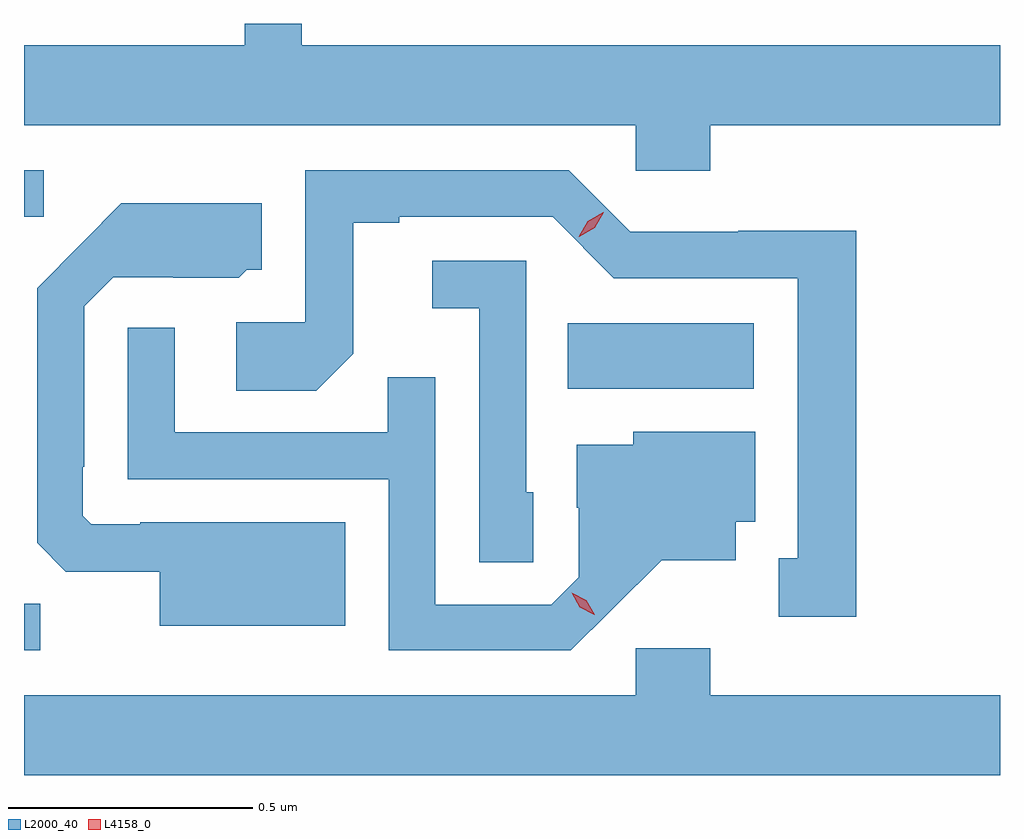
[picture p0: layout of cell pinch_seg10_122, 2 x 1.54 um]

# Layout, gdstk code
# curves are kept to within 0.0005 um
import gdstk
lib = gdstk.Library(unit=1e-6, precision=1e-09)
def R(c, l, rs):  # rectangles x0, y0, x1, y1
    for r in rs: c.add(gdstk.rectangle(r[:2], r[2:], *l))
def P(c, l, *ps):  # polygons
    for p in ps: c.add(gdstk.Polygon(p, *l))
L2000_40 = (2000, 40)
L4158_0 = (4158, 0)

pinch_seg10_122 = lib.new_cell('pinch_seg10_122')
R(pinch_seg10_122, L2000_40, [(719.226,1276.596,719.259,1276.691), (720.34,1277.132,720.721,1277.266), (719.226,1277.484,719.266,1277.58)])
P(pinch_seg10_122, L2000_40, [(720.632,1277.672),(721.226,1277.672),(721.226,1277.836),(719.795,1277.836),(719.795,1277.88),(719.678,1277.88),(719.678,1277.836),(719.226,1277.836),(719.226,1277.672),(720.48,1277.672),(720.48,1277.579),(720.632,1277.579)],
  [(720.931,1277.456),(720.69,1277.456),(720.69,1277.454),(720.468,1277.454),(720.342,1277.58),(719.802,1277.58),(719.802,1277.268),(719.661,1277.268),(719.661,1277.128),(719.825,1277.128),(719.901,1277.204),(719.901,1277.472),(719.995,1277.472),(719.995,1277.484),(720.309,1277.484),(720.435,1277.358),(720.812,1277.358),(720.812,1276.785),(720.773,1276.785),(720.773,1276.665),(720.931,1276.665)],
  [(719.884,1276.858),(719.464,1276.858),(719.464,1276.854),(719.364,1276.854),(719.346,1276.872),(719.346,1276.972),(719.349,1276.972),(719.349,1277.301),(719.409,1277.361),(719.532,1277.361),(719.532,1277.36),(719.666,1277.36),(719.682,1277.376),(719.713,1277.376),(719.713,1277.512),(719.425,1277.512),(719.253,1277.338),(719.253,1276.816),(719.312,1276.757),(719.504,1276.757),(719.504,1276.646),(719.884,1276.646)],
  [(720.27,1276.92),(720.255,1276.92),(720.255,1277.394),(720.063,1277.394),(720.063,1277.297),(720.159,1277.297),(720.159,1276.777),(720.27,1276.777)],
  [(720.43,1276.679),(720.533,1276.781),(720.685,1276.781),(720.685,1276.86),(720.724,1276.86),(720.724,1277.044),(720.474,1277.044),(720.474,1277.017),(720.359,1277.017),(720.359,1276.888),(720.363,1276.888),(720.363,1276.746),(720.306,1276.689),(720.069,1276.689),(720.069,1277.156),(719.971,1277.156),(719.971,1277.043),(719.535,1277.043),(719.535,1277.257),(719.439,1277.257),(719.439,1276.947),(719.973,1276.947),(719.973,1276.596),(720.346,1276.596)],
  [(721.226,1276.504),(720.632,1276.504),(720.632,1276.6),(720.48,1276.6),(720.48,1276.504),(719.226,1276.504),(719.226,1276.34),(721.226,1276.34)])
P(pinch_seg10_122, L4158_0, [(720.395,1276.669),(720.365,1276.684),(720.348,1276.714),(720.348,1276.714),(720.348,1276.714),(720.378,1276.699),(720.396,1276.669),(720.396,1276.669)],
  [(720.363,1277.443),(720.363,1277.443),(720.381,1277.475),(720.413,1277.494),(720.414,1277.494),(720.414,1277.494),(720.396,1277.462),(720.364,1277.443)])

lib.write_gds('pinch_seg10_122.gds')
